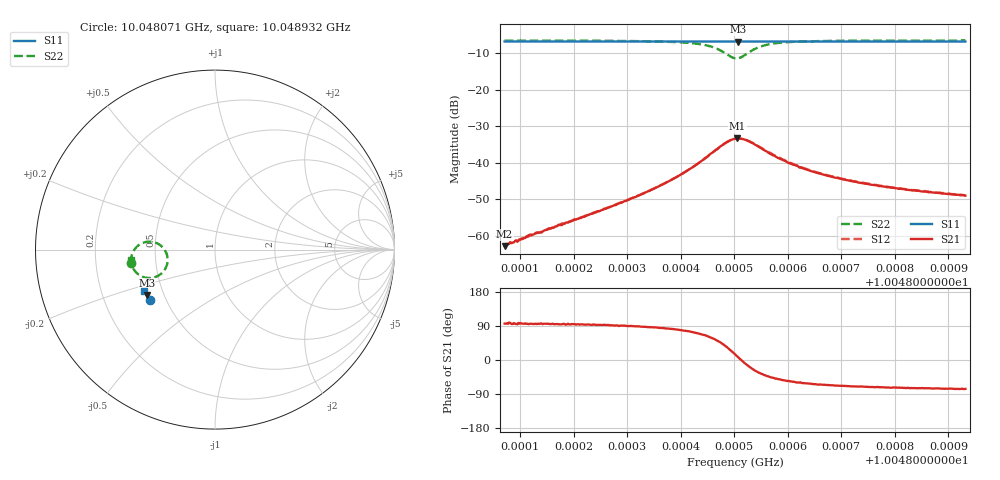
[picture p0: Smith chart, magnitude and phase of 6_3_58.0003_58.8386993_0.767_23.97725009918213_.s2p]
#  HZ  S  RI  R  50.00
! Rohde & Schwarz Vector Network Analyzer
! Rohde-Schwarz,ZNB20-2Port,1311601062101988,3.16
! Created: UTC 3/21/2024, 12:50:35 AM
! freq[Hz]  re:S11  im:S11  re:S21  im:S21  re:S12  im:S12  re:S22  im:S22
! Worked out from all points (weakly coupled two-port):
!   401 points, 10.048071 GHz to 10.048932 GHz, reference 50 ohm
!   highest |S21| = -33.35 dB at 10.048506 GHz (marker M1); lowest = -62.9 dB at 10.048071 GHz (marker M2)
!   lowest |S11| = -6.8 dB at 10.048508 GHz (marker M3), VSWR 2.68, Z = 20.1 - j13 ohm
!   |S11| at or under -10 dB: nowhere
!   |S22| runs from -11.4 to -6.5 dB; largest |S21 - S12| = 0.0018
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1.00480713e10  -0.3646 -0.2797  -7.6e-05 0.000712  -0.000145 0.000739  -0.4675 -0.0741
1.00481294e10  -0.3669 -0.2766  -0.000107 0.00109  -0.00017 0.00105  -0.4679 -0.0671
1.00482154e10  -0.3701 -0.2717  -0.000118 0.00178  -0.000215 0.00178  -0.4676 -0.0547
1.00483015e10  -0.3734 -0.267  4.8e-05 0.00307  -0.000187 0.0031  -0.465 -0.0367
1.00483596e10  -0.3757 -0.2635  0.000445 0.00472  0.000139 0.00476  -0.459 -0.0177
1.00484026e10  -0.3771 -0.2608  0.0014 0.00689  0.00102 0.00699  -0.4466 0.00411
1.00484478e10  -0.3786 -0.2579  0.00511 0.0106  0.00451 0.0108  -0.4053 0.0362
1.00484629e10  -0.3787 -0.2569  0.00813 0.0119  0.00754 0.0121  -0.3754 0.0441
1.00484779e10  -0.3788 -0.2559  0.0128 0.0118  0.0119 0.0124  -0.3327 0.0392
1.00484908e10  -0.3787 -0.2553  0.0174 0.00959  0.0166 0.0108  -0.2917 0.013
1.00485016e10  -0.3787 -0.2551  0.0205 0.00557  0.0199 0.00709  -0.268 -0.0282
1.00485059e10  -0.3787 -0.255  0.0212 0.00354  0.0208 0.0051  -0.2642 -0.0479
1.0048508e10  -0.3787 -0.255  0.0213 0.00237  0.021 0.00418  -0.2638 -0.058
1.00485188e10  -0.3789 -0.255  0.0207 -0.00267  0.0209 -0.00102  -0.2761 -0.1051
1.00485317e10  -0.3798 -0.2547  0.0177 -0.00677  0.0183 -0.00547  -0.3098 -0.1419
1.00485468e10  -0.3807 -0.2541  0.0135 -0.00904  0.0144 -0.00812  -0.3518 -0.1576
1.00485618e10  -0.3814 -0.2534  0.0104 -0.00957  0.0112 -0.00884  -0.3843 -0.1568
1.00486048e10  -0.3836 -0.2511  0.00534 -0.00811  0.00596 -0.00802  -0.4317 -0.1343
1.00486457e10  -0.3852 -0.2486  0.00342 -0.00676  0.0039 -0.00666  -0.4491 -0.1153
1.0048706e10  -0.3875 -0.245  0.00216 -0.00544  0.00253 -0.0054  -0.4599 -0.0963
1.00487899e10  -0.3903 -0.2402  0.00137 -0.00439  0.00161 -0.00434  -0.4662 -0.0792
1.00489319e10  -0.3951 -0.2321  0.000837 -0.00343  0.00104 -0.00342  -0.4704 -0.0603
